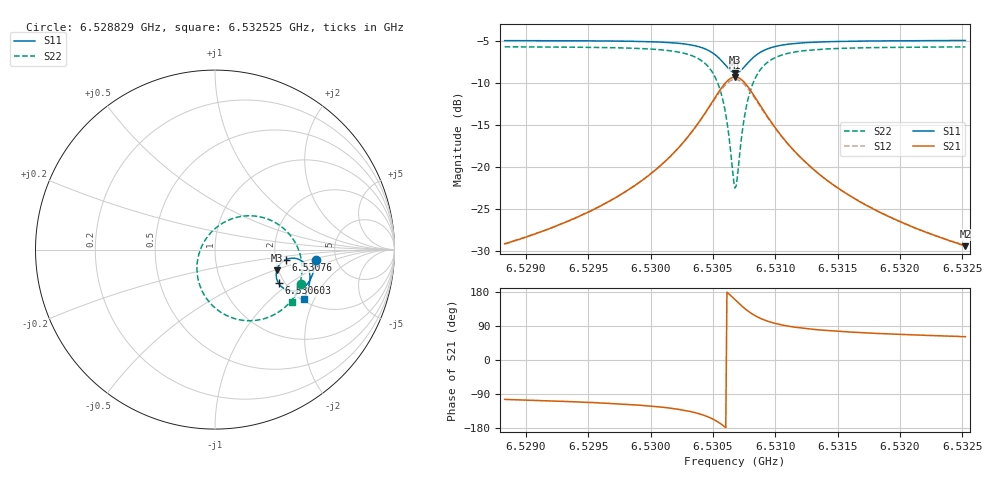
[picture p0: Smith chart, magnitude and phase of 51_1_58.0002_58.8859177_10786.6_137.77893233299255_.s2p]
#  HZ  S  RI  R  50.00
! Rohde & Schwarz Vector Network Analyzer
! Rohde-Schwarz,ZNB20-2Port,1311601062101988,3.16
! Created: UTC 3/21/2024, 12:52:29 AM
! freq[Hz]  re:S11  im:S11  re:S21  im:S21  re:S12  im:S12  re:S22  im:S22
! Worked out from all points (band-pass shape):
!   401 points, 6.528829 GHz to 6.532525 GHz, reference 50 ohm
!   highest |S21| = -9.31 dB at 6.530677 GHz (marker M1); lowest = -29.5 dB at 6.532525 GHz (marker M2)
!   |S21| within 3 dB of the highest: 6.530493 GHz to 6.530863 GHz (369.6 kHz wide, 0.00566 % of centre)
!   lowest |S11| = -8.8 dB at 6.530677 GHz (marker M3), VSWR 2.14, Z = 97.8 - j26.1 ohm
!   |S11| at or under -10 dB: nowhere
!   |S22| runs from -22.5 to -5.7 dB; largest |S21 - S12| = 0.015
!   S11 on the Smith chart (normalised r, x): 6.528829 GHz: 3.47, -0.60; 6.530603 GHz: 1.86, -0.83; 6.53076 GHz: 2.28, -0.30; 6.532525 GHz: 2.06, -1.66
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6.5288286e9  0.5608 -0.0589  -0.0084 -0.0338  -0.00911 -0.0336  0.4817 -0.1904
6.5294477e9  0.5512 -0.1124  -0.0187 -0.048  -0.0198 -0.0476  0.449 -0.2524
6.5298081e9  0.5395 -0.1483  -0.0328 -0.0639  -0.0345 -0.0631  0.4122 -0.2994
6.5300668e9  0.5234 -0.1794  -0.0554 -0.0829  -0.058 -0.0813  0.3611 -0.3436
6.5302886e9  0.4935 -0.2113  -0.1024 -0.1061  -0.1057 -0.1024  0.2667 -0.3869
6.5304457e9  0.4441 -0.2308  -0.1815 -0.1128  -0.184 -0.1048  0.1218 -0.3877
6.5305381e9  0.3929 -0.2219  -0.2615 -0.0795  -0.2599 -0.0677  -0.0108 -0.3149
6.5305751e9  0.3698 -0.206  -0.2959 -0.045  -0.2908 -0.0328  -0.0618 -0.2496
6.5306028e9  0.3546 -0.1873  -0.3172 -0.00837  -0.3091 0.00326  -0.0894 -0.1839
6.5306582e9  0.3409 -0.1351  -0.3291 0.0873  -0.3163 0.0939  -0.0896 -0.024
6.5306767e9  0.3438 -0.1159  -0.3204 0.1208  -0.307 0.1251  -0.0686 0.0293
6.5306952e9  0.3506 -0.0979  -0.3052 0.1523  -0.2919 0.1539  -0.0377 0.0774
6.5307322e9  0.374 -0.0687  -0.2599 0.2014  -0.2486 0.1992  0.0455 0.1493
6.5307599e9  0.3961 -0.0553  -0.2195 0.2235  -0.2105 0.2196  0.1161 0.1785
6.5307876e9  0.4186 -0.0489  -0.1795 0.2339  -0.1728 0.2294  0.1847 0.1885
6.5308246e9  0.4458 -0.0486  -0.1322 0.2337  -0.1278 0.2295  0.2638 0.1795
6.530917e9  0.4918 -0.0692  -0.0541 0.2026  -0.0522 0.2001  0.3912 0.1096
6.5310648e9  0.5209 -0.109  -0.00438 0.1474  -0.0032 0.1467  0.4656 -0.00195
6.5312958e9  0.5294 -0.1536  0.0149 0.0967  0.0161 0.0965  0.4848 -0.1075
6.5315823e9  0.5255 -0.191  0.0187 0.0657  0.0198 0.0654  0.4761 -0.179
6.5319149e9  0.5161 -0.2239  0.0183 0.0469  0.0191 0.0466  0.4597 -0.2299
6.5325248e9  0.495 -0.273  0.016 0.0296  0.0166 0.0295  0.4281 -0.2907
